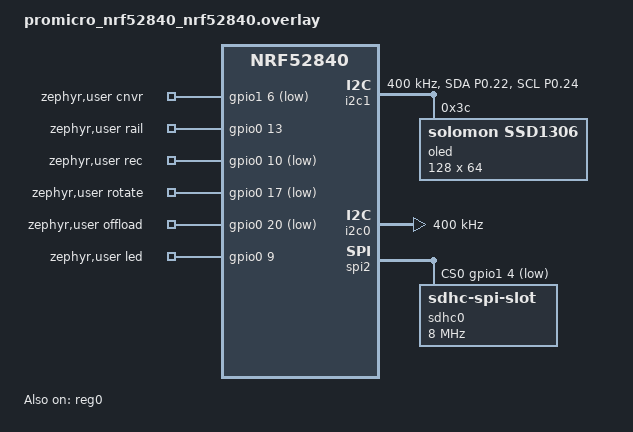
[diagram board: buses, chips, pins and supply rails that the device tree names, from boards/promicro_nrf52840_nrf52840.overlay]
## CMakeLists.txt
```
cmake_minimum_required(VERSION 3.20.0)

# ---- Auto-derived version --------------------------------------------------
# Two version surfaces that need to track every push, not stay pinned:
#
#   1. APP_BUILD_TAG (visible in `pwr status`): `git describe`-derived, e.g.
#      v1.0-13-gde99493 or v1.0-13-gde99493-dirty.
#
#   2. MCUboot image version (visible in `pwrctl ota` image list and on
#      the swap trailer): MAJOR.MINOR.PATCH+TWEAK. MAJOR/MINOR pinned in
#      CMake; PATCHLEVEL = number of commits past the v1.0 tag (mod 256
#      because Zephyr's version parser is byte-limited). Result: every
#      committed-and-pushed image gets a unique version number.
#
# Both fall back to "unknown" / 0 if git isn't usable (clean tarball
# extract etc.); functional, just less informative.
#
# The VERSION file is generated here (NOT tracked in git) so the source
# tree never carries a stale snapshot. Zephyr's find_package reads it
# during boilerplate; computing + writing it must happen BEFORE that.

set(APP_VERSION_MAJOR 1)
set(APP_VERSION_MINOR 1)

execute_process(
    COMMAND git describe --always --dirty --tags
    WORKING_DIRECTORY ${CMAKE_SOURCE_DIR}
    OUTPUT_VARIABLE APP_GIT_TAG
    OUTPUT_STRIP_TRAILING_WHITESPACE
    RESULT_VARIABLE _git_rc
    ERROR_QUIET
)
if(NOT _git_rc EQUAL 0 OR APP_GIT_TAG STREQUAL "")
    set(APP_GIT_TAG "unknown")
endif()

# Commit count past v1.0; goes into PATCHLEVEL. Mod 256 to stay within the
# byte cap (just bump VERSION_MINOR before we run out at commit 256).
execute_process(
    COMMAND git rev-list --count v1.0..HEAD
    WORKING_DIRECTORY ${CMAKE_SOURCE_DIR}
    OUTPUT_VARIABLE APP_COMMIT_COUNT
    OUTPUT_STRIP_TRAILING_WHITESPACE
    RESULT_VARIABLE _count_rc
    ERROR_QUIET
)
if(NOT _count_rc EQUAL 0 OR APP_COMMIT_COUNT STREQUAL "")
    set(APP_COMMIT_COUNT 0)
endif()
math(EXPR APP_VERSION_PATCH "${APP_COMMIT_COUNT} % 256")

file(WRITE ${CMAKE_SOURCE_DIR}/VERSION
    "VERSION_MAJOR = ${APP_VERSION_MAJOR}\n"
    "VERSION_MINOR = ${APP_VERSION_MINOR}\n"
    "PATCHLEVEL = ${APP_VERSION_PATCH}\n"
    "VERSION_TWEAK = 0\n"
    "EXTRAVERSION =\n"
)

message(STATUS "pwr-logger build tag:    ${APP_GIT_TAG}")
message(STATUS "pwr-logger image version: ${APP_VERSION_MAJOR}.${APP_VERSION_MINOR}.${APP_VERSION_PATCH}+0")

find_package(Zephyr REQUIRED HINTS $ENV{ZEPHYR_BASE})
project(pwr_logger C)

add_compile_definitions(APP_BUILD_TAG="${APP_GIT_TAG}")

# Guard: FatFs must be thread-safe. FS_FATFS_REENTRANT depends on
# !FS_FATFS_LFN_MODE_BSS; if a config change reintroduces BSS mode Kconfig drops
# REENTRANT with only a warning and FatFs silently runs with NO locking
# (corrupts the card under concurrent shell/logger/display access).
if(NOT CONFIG_FS_FATFS_REENTRANT)
    message(FATAL_ERROR
        "CONFIG_FS_FATFS_REENTRANT is not enabled (check for a Kconfig warning: "
        "it requires LFN mode STACK or HEAP, not BSS). Refusing to build a "
        "firmware whose SD filesystem access is not thread-safe.")
endif()

target_sources(app PRIVATE
    src/main.c
    src/board_init.c
    src/bringup.c
    src/timebase.c
    src/acquisition.c
    src/ina228.c
    src/aggregate.c
    src/tdms.c
    src/storage.c
    src/logger.c
    src/ble_stream.c
    src/usb_msc.c
    src/usbd_pwr_bulk.c
    src/config.c
    src/clock.c
    src/cli.c
    src/logctl.c
    src/power.c
    src/cal.c
    src/controls.c
    src/stats.c
    src/cfgfile.c
    src/wdt.c
    src/ota.c
)

# Optional SSD1306 OLED (CONFIG_APP_DISPLAY) — compiled only when enabled.
target_sources_ifdef(CONFIG_APP_DISPLAY app PRIVATE src/display.c src/ui.c src/icons_font.c)

target_include_directories(app PRIVATE src)
```

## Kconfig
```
# pwr-logger application Kconfig (root). Must source Kconfig.zephyr.

menu "pwr-logger"

config APP_BRINGUP
	bool "Bring-up probe mode (LED heartbeat + I2C/SD/SAADC self-test)"
	default y
	help
	  Phase 0/1 hardware bring-up: instead of the logging pipeline, run a
	  heartbeat LED and periodically probe the INA228 (I2C), SD card, and
	  SAADC (AIN7), logging results to the console. Use this to verify wiring
	  one component at a time. Set to 'n' for the real logging firmware.

config APP_DISPLAY
	bool "SSD1306 OLED status display (I2C on TWIM1)"
	default n
	select DISPLAY
	select SSD1306
	select CHARACTER_FRAMEBUFFER
	help
	  128x64 SSD1306 OLED on a dedicated I2C bus (TWIM1 / i2c1, address 0x3C),
	  showing live current/voltage/state/battery. Off by default so the
	  firmware builds/runs without the panel fitted; set 'y' once it's wired.

endmenu

source "Kconfig.zephyr"
```

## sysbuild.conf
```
# Multi-image build: add MCUboot as the bootloader (replaces the stock UF2).
# Partitions come from the board devicetree (nrf52840_partition.dtsi) — no
# NCS Partition Manager / pm_static needed.
# Build with:  west build -b promicro_nrf52840/nrf52840 --sysbuild
SB_CONFIG_BOOTLOADER_MCUBOOT=y
```

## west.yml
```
# West manifest — workspace ("T2 star") application on UPSTREAM ZEPHYR.
# Fully open source: no Nordic SoftDevice Controller blob. Zephyr's own
# software BLE controller is used instead (see prj.conf: BT_LL_SW_SPLIT).
#
# Run once:  west init -l .   &&   west update
# `import: true` pulls Zephyr + its modules (hal_nordic/nrfx, MCUboot, FatFs, ...).
manifest:
  remotes:
    - name: zephyrproject
      url-base: https://github.com/zephyrproject-rtos
  projects:
    - name: zephyr
      remote: zephyrproject
      revision: main          # pin to a release tag (e.g. v4.1.0) for reproducibility
      import: true
  self:
    path: pwr-logger
```

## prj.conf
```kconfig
# pwr-logger application Kconfig.
# NOTE: this is a starting point. Several storage/DFU symbol names are
# Zephyr-version-sensitive — expect to adjust on the first `west build`.
# See REQUIREMENTS.md / IMPLEMENTATION.md for the rationale behind each group.

# ---- Core ----------------------------------------------------------------
# Logging + RTT disabled: ~17-22 KB BSS reclaim for download buffers.
# Trade: no boot diagnostics, no LOG_INF/WRN/ERR, fault dumps invisible
# without re-flashing a debug build (separate prj-debug.conf can re-enable).
# LOG_MODULE_REGISTER calls in driver/app code compile to no-ops under
# CONFIG_LOG=n; runtime is unaffected.
CONFIG_LOG=n
CONFIG_FPU=y
CONFIG_GPIO=y
CONFIG_GPIO_HOGS=y     # drive P0.13 high at boot to keep the board's 3.3V rail on
CONFIG_MAIN_STACK_SIZE=4096
CONFIG_HEAP_MEM_POOL_SIZE=16384
CONFIG_REBOOT=y
CONFIG_POWEROFF=y      # sys_poweroff() for SHIP / System OFF
# Hardware watchdog: nRF WDT, 4s timeout, fed by sysworkq every 1s.
# Catches kernel-level deadlocks (sysworkq stops -> SoC reset) without
# false positives in normal operation. See src/wdt.c for the full design.
CONFIG_WATCHDOG=y
# Device-level power management: lets us call pm_device_action_run() on
# the bus drivers so their suspend hooks apply pinctrl-sleep
# (low-power-enable disconnects the pads). Without this, when the 3.3V
# rail to INA228/display/SD goes off in LS_IDLE, the MCU keeps driving
# SDA/SCL/SCK/MOSI/CS into now-unpowered slaves and current leaks
# through their ESD diodes to ground -- mA-level standby draw.
CONFIG_PM_DEVICE=y
# Enable board_early_init_hook() in src/board_init.c -- writes UICR.REGOUT0 =
# 3.3 V on first boot in HV mode. Without this Kconfig, hooks.h expands the
# call site to do-while-0 and the hook is dead code, leaving VDD = 1.8 V.
CONFIG_BOARD_EARLY_INIT_HOOK=y

# ---- Acquisition: nrfx SAADC + TIMER + PPI (gapless 200 kSPS hot path) ----
# Driver classes; the specific TIMER/SAADC instances are enabled via devicetree
# (e.g. &timer2, &adc status = "okay") when acquisition.c is implemented.
CONFIG_NRFX_SAADC=y
CONFIG_NRFX_TIMER=y
CONFIG_NRFX_GPPI=y
CONFIG_NRFX_GPIOTE=y

# ---- Precision channel: INA228 over I2C (Fast-mode-plus) ------------------
CONFIG_I2C=y

# ---- Storage: SD over SPI + FatFs/exFAT ----------------------------------
CONFIG_SPI=y
CONFIG_DISK_ACCESS=y
CONFIG_SDHC=y
CONFIG_SDMMC_STACK=y
CONFIG_DISK_DRIVER_SDMMC=y
CONFIG_FILE_SYSTEM=y
CONFIG_FAT_FILESYSTEM_ELM=y
CONFIG_FS_FATFS_EXFAT=y
CONFIG_FS_FATFS_LFN=y
# FatFs has zero internal locking by default; with the FILE-page render
# now calling fs_statvfs / fs_stat from the display thread (priority 8)
# while the logger writer (priority 5) does fs_write, an unsynchronized
# access wedges the global FF state and freezes the device. Reentrant
# mode wraps every FS call in a Zephyr mutex (~120 B BSS).
#
# !! FS_FATFS_REENTRANT `depends on !FS_FATFS_LFN_MODE_BSS`, and BSS is the
# !! default LFN mode (static buffer, "always NOT thread-safe"). With BSS the
# !! REENTRANT=y line below was SILENTLY DROPPED (only a Kconfig warning), so
# !! FatFs ran with no locking at all: shell / logger / display / download
# !! worker raced one shared sector window + one shared name buffer. Symptoms:
# !! random short `pwr ls`, torn/duplicated exFAT dir entries, files whose
# !! size was saved but clusters not linked. HEAP mode keeps the LFN buffer off
# !! the small thread stacks (display thread is 1.5 KB) and uses the existing
# !! HEAP_MEM_POOL_SIZE. CMakeLists.txt fails the build if REENTRANT is off.
CONFIG_FS_FATFS_LFN_MODE_HEAP=y
CONFIG_FS_FATFS_REENTRANT=y

# ---- BLE: aggregated live stream + DFU transport -------------------------
CONFIG_BT=y
CONFIG_BT_LL_SW_SPLIT=y     # Zephyr's open-source link-layer controller (no blob)
CONFIG_BT_PERIPHERAL=y
CONFIG_BT_DEVICE_NAME="pwr-logger"
CONFIG_BT_CTLR_PHY_2M=y
CONFIG_BT_L2CAP_TX_MTU=247
CONFIG_BT_BUF_ACL_TX_SIZE=251
CONFIG_BT_BUF_ACL_RX_SIZE=251
# BT supervision timeout: default pref of 420 ms (=42*10ms) is too short
# for synchronous flash operations that block BLE servicing -- the
# one-shot mcumgr `image erase` takes ~5 s on a populated 234 KB slot
# (nRF52840 page erase ~85 ms x 58 pages), exceeding the supervision
# timeout and dropping the connection. 10 s (=1000*10ms) accommodates
# the worst-case erase comfortably.
CONFIG_BT_PERIPHERAL_PREF_TIMEOUT=1000
# ATT MTU: Zephyr derives it from CONFIG_BT_BUF_ACL_TX_SIZE (251 -> 247
# usable). Hitting the 20-byte payload cap (rec_slow drops) is a
# central-side issue: the central must initiate the MTU exchange.
# Tracked as the rec_slow item in TODO.md; deferred from this commit.

# ---- USB: composite CDC console + MSC offload (device_next) ----------------
# Own a single composite USB device (CDC console + MSC) in usb_msc.c: disable
# the board's standalone CDC-ACM-console context so MSC can share the device.
# MSC exposes the SD card (disk-name "SD") to a host; mutually exclusive with
# FatFs logging (host owns the block device during offload).
CONFIG_CDC_ACM_SERIAL_INITIALIZE_AT_BOOT=n
CONFIG_USBD_CDC_ACM_CLASS=y
CONFIG_USBD_MSC_CLASS=y
CONFIG_HWINFO=y
# Push CDC TX throughput closer to the FS bulk-EP limit. Default pool is
# 16 x 64 B = 1 KB shared with MSC/desc; that caps us at ~1 packet per
# host SOF -> ~85 KB/s. A dedicated pool with more buffers lets the UDC
# pre-stage multiple packets so the host can drain them per-frame.
CONFIG_USBD_CDC_ACM_BUF_POOL=y
CONFIG_UDC_BUF_COUNT=32
# Shared by CDC ACM + MSC + pwr-bulk. The pwr-bulk class can have up to
# PWR_BULK_BUF_COUNT (8) * 1024 B = 8 KB of transfers outstanding when
# the producer races ahead of the host; 16 KB leaves the pool large
# enough to absorb that without back-pressuring CDC/MSC alloc paths.
# pwr-bulk's producer also retries on alloc-fail so a too-small pool is
# a perf hit, not a correctness bug.
CONFIG_UDC_BUF_POOL_SIZE=32768

# ---- Persistent config: Zephyr settings over NVS (the 'storage' partition) -
CONFIG_SETTINGS=y
CONFIG_SETTINGS_NVS=y
CONFIG_NVS=y

# ---- Console shell over the CDC-ACM USB console (chosen zephyr,shell-uart) --
# Input command surface for config/time/logctl. Logs stay on the RTT backend so
# the interactive shell isn't cluttered (SHELL_LOG_BACKEND=n).
CONFIG_SHELL=y
CONFIG_SHELL_BACKEND_SERIAL=y
CONFIG_SHELL_LOG_BACKEND=n
# Default 2 KB shell stack overflows when 'pwr download' opens a FatFs file
# and streams bytes via uart_poll_out -- FatFs read + console_dev struct
# accesses through that path use enough stack to tip over. 4 KB clears it
# with headroom; observed peak ~1.6 KB during a multi-MB download.
CONFIG_SHELL_STACK_SIZE=4096

# ---- Dev: thread analyzer disabled (CONFIG_LOG=n, no sink for its output) --
# CONFIG_THREAD_NAME=y / THREAD_MONITOR=y / THREAD_ANALYZER* removed alongside
# the log subsystem. EXCEPTION_DEBUG also relied on log/printk for output;
# faults now just reset the board via the default fatal handler. Re-enable
# this whole block in a debug build if you need crash visibility or thread
# stack high-water analysis.

# ---- Optional OLED status display ------------------------------------------
CONFIG_APP_DISPLAY=y

# ---- OTA: MCUboot image infra (bootloader enabled in sysbuild.conf) --------
# Slot / image-management plumbing used by both update paths:
#   * BLE mcumgr-SMP (host: mcumgr / nrfutil device firmware-program)
#   * SD-card auto-apply (drop /SD:/firmware.bin, reboot or `pwr ota apply`)
# Both stream to the secondary slot and mark for swap; MCUboot does the
# atomic swap on the next reset.
CONFIG_FLASH=y
CONFIG_FLASH_MAP=y
CONFIG_FLASH_PAGE_LAYOUT=y
CONFIG_STREAM_FLASH=y
CONFIG_IMG_MANAGER=y
CONFIG_IMG_ERASE_PROGRESSIVELY=y     # erase pages on demand during stream
CONFIG_MCUBOOT_IMG_MANAGER=y          # boot_request_upgrade / confirmed
# mcumgr SMP server: app-layer over BLE GATT. img_mgmt = image upload + swap;
# os_mgmt = reset/echo. NB: MCUMGR `depends on ZCBOR` (does not select),
# so CONFIG_ZCBOR has to be explicit.
CONFIG_ZCBOR=y
CONFIG_MCUMGR=y
CONFIG_MCUMGR_TRANSPORT_BT=y
CONFIG_MCUMGR_GRP_IMG=y
CONFIG_MCUMGR_GRP_OS=y
CONFIG_MCUMGR_GRP_OS_BOOTLOADER_INFO=y
# Reset-on-mcumgr-OS reset
CONFIG_MCUMGR_GRP_OS_RESET_HOOK=y
# DFU status hooks: lets src/ota.c register a callback that drives the
# OLED progress indicator + sets the in-progress flag that inhibits
# auto-sleep during a BLE OTA upload (see ota_dfu_cb). Requires the
# parent MGMT_NOTIFICATION_HOOKS=y.
CONFIG_MCUMGR_MGMT_NOTIFICATION_HOOKS=y
CONFIG_MCUMGR_GRP_IMG_STATUS_HOOKS=y
```

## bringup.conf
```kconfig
# Standalone bring-up build profile (NO MCUboot): links the app at 0x0 so it
# boots directly over SWD, for Phase 0/1 hardware bring-up.
#
# Use WITHOUT --sysbuild:
#   west build -b promicro_nrf52840/nrf52840 -- -DEXTRA_CONF_FILE=bringup.conf
#
# The board otherwise targets an MCUboot scheme (zephyr,code-partition=slot0 and
# a 0x1000 MBR offset); these two overrides bypass that for direct boot.
CONFIG_USE_DT_CODE_PARTITION=n
CONFIG_FLASH_LOAD_OFFSET=0
```

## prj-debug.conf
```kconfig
# Debug overlay: re-enables what the production build (prj.conf) strips.
#
# Use:
#   west build -s ~/work/pwr-logger -b promicro_nrf52840/nrf52840 \
#       -d /tmp/pwrlog-debug --sysbuild \
#       -- -DCONFIG_APP_BRINGUP=n -DEXTRA_CONF_FILE=prj-debug.conf
#
# Cost vs production build (measured 2026-05-28):
#   RAM:    85.80% -> 95.57%   (+25 KB: log queue, RTT up-buf, log
#                               thread, analyzer state)
#   FLASH:  52.74% -> 61.58%   (+42 KB: log format strings, RTT, helpers)
# Download throughput unaffected at this RAM level; the SD double-buffer
# at 16 KB/chunk still fits with ~5% headroom.

CONFIG_LOG=y
CONFIG_USE_SEGGER_RTT=y
CONFIG_LOG_BACKEND_RTT=y
CONFIG_LOG_BACKEND_RTT_BUFFER_SIZE=4096
CONFIG_SEGGER_RTT_BUFFER_SIZE_UP=4096
CONFIG_LOG_BUFFER_SIZE=16384
CONFIG_LOG_PROCESS_THREAD_STACK_SIZE=2048

# Thread stack high-water + auto-print every 20 s.
CONFIG_THREAD_NAME=y
CONFIG_THREAD_MONITOR=y
CONFIG_THREAD_ANALYZER=y
CONFIG_THREAD_ANALYZER_USE_LOG=y
CONFIG_THREAD_ANALYZER_AUTO=y
CONFIG_THREAD_ANALYZER_AUTO_INTERVAL=20

# Per-thread fault dump (PC/LR/SP + register file) before the offender
# aborts. Without this, a single-thread fault leaves no trace beyond
# the thread disappearing from the iterator.
CONFIG_EXCEPTION_DEBUG=y
```

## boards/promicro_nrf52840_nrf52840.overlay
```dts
/*
 * pwr-logger peripherals on the ProMicro nRF52840 (upstream board
 * `promicro_nrf52840/nrf52840`). Pins verified against the board DTS.
 *
 * Series load path (high-side), INA228 nearest the load so its VBUS = load V:
 *   Supply+ --[INA240 1mOhm]--[INA228 2mOhm]-- Load+ ... Load- -- GND
 *   (all grounds common: supply-, both breakouts, MCU, load return)
 */

#include <zephyr/dt-bindings/pinctrl/nrf-pinctrl.h>
#include <zephyr/dt-bindings/gpio/nordic-nrf-gpio.h>
#include <zephyr/dt-bindings/regulator/nrf5x.h>

/ {
	zephyr,user {
		/* INA228 CNVR/ALERT (open-drain, active-low) -> GPIOTE -> PPI ->
		 * TIMER.CAPTURE: hardware-timestamps each slow conversion. */
		cnvr-gpios = <&gpio1 6 (GPIO_ACTIVE_LOW | GPIO_PULL_UP)>;

		/* P0.13 enables the board's external 3.3V rail (nice!nano-style power
		 * gate) -- pulling it low cuts 3.3V to the INA228/INA240/SD. Driven
		 * HIGH early by power_init(); cut in dark idle / ship to save power.
		 * (Was a permanent gpio-hog; now app-controlled.) */
		rail-gpios = <&gpio0 13 GPIO_ACTIVE_HIGH>;

		/* Front-panel controls (active-low, internal pull-up).
		 * REC: momentary -- short = start/stop toggle, long(2s) = poweroff.
		 * ROTATE: momentary -- cut a fresh TDMS file while logging.
		 * OFFLOAD: SPST maintained -- level read at boot + on every edge;
		 *   closed = MSC offload mode, open = normal logging.
		 * P0.09 and P0.10 are the freed NFC pads (nfct-pins-as-gpios in the
		 * board common.dts); P0.10 was uart0 RX by default but we don't use
		 * uart0 (shell on CDC, logs on RTT) so we disable it below to free
		 * the pin. P0.09 was uart0 TX (same treatment). */
		rec-gpios     = <&gpio0 10 (GPIO_ACTIVE_LOW | GPIO_PULL_UP)>;
		rotate-gpios  = <&gpio0 17 (GPIO_ACTIVE_LOW | GPIO_PULL_UP)>;
		offload-gpios = <&gpio0 20 (GPIO_ACTIVE_LOW | GPIO_PULL_UP)>;

		/* Status LED on P0.09 (active-high; ~270-330 ohm series resistor
		 * to GND). Drawn from MCU GPIO -- survives the gated 3V3 rail
		 * being cut, so the LED can keep indicating during dark IDLE if
		 * we ever want that (currently: off in IDLE). */
		led-gpios = <&gpio0 9 GPIO_ACTIVE_HIGH>;
	};
};

/* Free P0.09 / P0.10 from uart0's default pinctrl. We don't use uart0 at all
 * (shell binds to the USB CDC console, logs go to RTT) -- this lets controls.c
 * own the pads via plain GPIO. */
&uart0 { status = "disabled"; };

/* PWM0 is wired to P0.15 (the board's onboard "Red LED") in the upstream
 * common DTS. We don't use either the board LED or PWM, and leaving the
 * peripheral enabled means its pinctrl gets applied at boot, which can
 * leave a stale pull on P0.15. Disable. */
&pwm0 { status = "disabled"; };

/* The board enables the IEEE 802.15.4 radio. We use BLE (which shares the
 * RADIO peripheral) -- the 802.15.4 driver doesn't conflict at runtime
 * but it links code we don't use and registers an init hook. Off. */
&ieee802154 { status = "disabled"; };

/* The board's onboard "Red LED" gpio-leds entry claims P0.15 as a GPIO
 * output at boot. We don't use it; disable so the pin stays free of any
 * default-config residue. */
&led0 { status = "disabled"; };

/* I2C1 default pins (P1.04 / P1.06) are repurposed as SD-CS and CNVR; re-map the
 * TWIM1 bus to two freed pins for a DEDICATED display I2C, so the SSD1306 never
 * contends with the INA228 on TWIM0. (nRF52840 TWIM max is 400 kHz, no FM+, which
 * is exactly why the display gets its own bus.) Bus + node are inert until
 * CONFIG_APP_DISPLAY selects the SSD1306 driver. */
&pinctrl {
	i2c1_disp: i2c1_disp {
		group1 {
			psels = <NRF_PSEL(TWIM_SDA, 0, 22)>,
				<NRF_PSEL(TWIM_SCL, 0, 24)>;
		};
	};
	i2c1_disp_sleep: i2c1_disp_sleep {
		group1 {
			psels = <NRF_PSEL(TWIM_SDA, 0, 22)>,
				<NRF_PSEL(TWIM_SCL, 0, 24)>;
			low-power-enable;
		};
	};
};

&i2c1 {
	compatible = "nordic,nrf-twim";
	status = "okay";
	clock-frequency = <I2C_BITRATE_FAST>;
	pinctrl-0 = <&i2c1_disp>;
	pinctrl-1 = <&i2c1_disp_sleep>;
	pinctrl-names = "default", "sleep";
	/* SSD1306 driver pushes a 1024-byte framebuffer prepended by a 1-byte
	 * I2C "control byte" (0x40 = data). EasyDMA needs a contiguous buffer:
	 * the TWIM driver concatenates the two via this scratch buffer. If it's
	 * unset / 0 the burst splits into two I2C transactions, the second
	 * starts with what was the first pixel byte but the chip interprets it
	 * as a NEW control byte (0x00 = command) -> the rest of the framebuffer
	 * is executed as commands -> screen shows random garbage. 1088 bytes
	 * covers the full 128x64 mono frame + control byte with headroom. */
	zephyr,concat-buf-size = <1088>;

	oled: ssd1306@3c {
		compatible = "solomon,ssd1306";
		reg = <0x3c>;
		width = <128>;
		height = <64>;
		segment-offset = <0>;
		page-offset = <0>;
		display-offset = <0>;
		multiplex-ratio = <63>;
		segment-remap;
		com-invdir;
		prechargep = <0x22>;
	};
};

/ {
	chosen {
		zephyr,display = &oled;
	};
};

/* INA228 precision channel — I2C Fast-mode-plus, address 0x40 (A0/A1 = GND).
 * Driven manually in ina228.c via the i2c0 bus device (no DT binding needed).
 * Add ~2.2k SDA/SCL pull-ups to 3V3 unless the breakout already has them. */
&i2c0 {
	compatible = "nordic,nrf-twim";	/* TWIM (EasyDMA) */
	status = "okay";
	clock-frequency = <I2C_BITRATE_FAST>;	/* 400 kHz — nRF52840 I2C max */
};

/* Level shifter/buffer removed -> the MCU drives the SD lines directly.
 * group1 = outputs (SCK/MOSI) at H0H1 high drive (max for nRF52840); the
 * default S0S1 gives weak edges into the card's pin load. group2 = MISO, the
 * card->MCU input, with the nRF internal pull-up (~13k) enabled so the line
 * isn't left floating between the card's drive phases. (No pull-up on SCK: it
 * would fight the CPOL=0 idle-low.) */
&spi2_default {
	group1 {
		psels = <NRF_PSEL(SPIM_SCK, 1, 1)>,
			<NRF_PSEL(SPIM_MOSI, 1, 2)>;
		nordic,drive-mode = <NRF_DRIVE_H0H1>;
	};
	group2 {
		psels = <NRF_PSEL(SPIM_MISO, 1, 7)>;
		bias-pull-up;
	};
};

/* SD card on SPIM2 (board default pins: SCK P1.01, MOSI P1.02, MISO P1.07).
 * ~8 MHz ~= 1 MB/s, 2.5x the 400 kB/s need. CS = P1.04 (freed from I2C1).
 * For more headroom (multichannel) later, move SD to SPIM3 @ 32 MHz. */
&spi2 {
	/* The board defaults spi2 to the legacy byte-IRQ "nordic,nrf-spi" driver,
	 * which fires one interrupt per byte -> at ~390 kB/s of TDMS writes the SPI
	 * ISR starves every other thread. Use SPIM (EasyDMA): one DMA transfer per
	 * buffer. SPIM2 is free (I2C uses TWIM0); 8 MHz max, 64 kB max-count. */
	compatible = "nordic,nrf-spim";
	status = "okay";
	cs-gpios = <&gpio1 4 (GPIO_ACTIVE_LOW | NRF_GPIO_DRIVE_H0H1 | GPIO_PULL_UP)>;

	sdhc0: sdhc@0 {
		compatible = "zephyr,sdhc-spi-slot";
		reg = <0>;
		status = "okay";
		spi-max-frequency = <8000000>;
		mmc {
			compatible = "zephyr,sdmmc-disk";
			disk-name = "SD";
			status = "okay";
		};
	};
};

/* DC/DC regulators (efficiency; inductors populated). HV mode: REG0 steps
 * VDDH->VDD, REG1 steps VDD->1.3 V core. Default is LDO (functional but lossy);
 * DC/DC roughly halves current, biggest win on REG0 dropping 3.7-5 V. */
&reg1 {
	regulator-initial-mode = <NRF5X_REG_MODE_DCDC>;
};

&reg0 {
	status = "okay";
};

/*
 * SAADC fast channel: INA240 OUT -> RC anti-alias (62 ohm + 33 nF, ~78 kHz) ->
 * P0.31 = AIN7. Configured in acquisition.c via nrfx (no DT node needed; do NOT
 * also enable the Zephyr `adc` driver, or both would claim the SAADC).
 */
```

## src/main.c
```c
#include <zephyr/kernel.h>
#include <zephyr/logging/log.h>

#include "timebase.h"

#ifdef CONFIG_APP_BRINGUP
#include "bringup.h"
#else
#include "acquisition.h"
#include "ina228.h"
#include "ble_stream.h"
#include "usb_msc.h"
#include "logger.h"
#include "logctl.h"
#include "config.h"
#include "clock.h"
#include "power.h"
#include "display.h"
#include "controls.h"
#include "stats.h"
#include "ui.h"
#include "storage.h"
#include "cfgfile.h"
#include "wdt.h"
#include "ota.h"
#endif

LOG_MODULE_REGISTER(main, LOG_LEVEL_INF);

int main(void)
{
	LOG_INF("pwr-logger starting");
	timebase_init();

#ifdef CONFIG_APP_BRINGUP
	/* Phase 0/1: hardware bring-up self-test (does not return). */
	bringup_run();
#else
	/* Persistent config + wall clock first: clk_init() sets defaults before
	 * config_load() runs settings_load() (which fills both via static
	 * handlers); clk_start() then restores the time estimate. */
	clk_init();
	config_load();
	clk_start();

	/* Bring the 3.3 V rail up before anything that needs it (INA228/INA240/SD). */
	power_init();

	acq_init();
	ina228_init();
	ble_stream_init();
	ota_dfu_hooks_init();   /* mcumgr DFU events -> display + in_progress flag */
	usb_storage_init();
	display_init();   /* no-op unless CONFIG_APP_DISPLAY */
	ui_init();        /* multi-page UI state (no-op without DISPLAY) */
	stats_init();     /* hooks aggregate.c + ina228.c callbacks; lock-light */
	logger_init();

	/* Optional SD-backed config overlay. Read /SD:/pwr.cfg early -- the keys
	 * we apply (ui.*, stats.*, display.*) should take effect on the first
	 * render / logger_start. logger_start will re-mount as needed; we leave
	 * the FS unmounted here. */
	if (config_get()->cfgfile_load_on_boot) {
		if (storage_mount() == 0) {
			(void)cfgfile_apply_from_sd();
			(void)storage_unmount();
		} else {
			LOG_WRN("cfgfile_load_on_boot: SD mount failed -- skipping");
		}
	}

	/* logctl owns the mode (logging / offload / ship), driven by the console,
	 * BLE, buttons/switch and USB/battery events. It seeds the initial mode
	 * from config (autostart) here. */
	logctl_init();

	/* Front-panel inputs + LED (must come AFTER logctl_init -- controls
	 * posts the boot-time OFFLOAD switch level into logctl's msgq). */
	controls_init();

	/* Hardware watchdog last: by here every subsystem that uses sysworkq
	 * (logger flush, display refresh, BLE timers) is up, so the periodic
	 * feed work joins an already-flowing queue and won't starve at
	 * startup. Failure here is non-fatal; the device just runs without
	 * the watchdog safety net. */
	(void)wdt_init();

	/* If we just swapped in via OTA (TEST swap), confirm the image so
	 * MCUboot stops reverting on subsequent resets. "We got this far"
	 * means init succeeded across acquisition, INA228, BLE, USB,
	 * display, controls, logctl -- a reasonable health check. No-op
	 * if the image was already confirmed. */
	ota_confirm_current();

	while (1) {
		k_sleep(K_SECONDS(1));
	}
#endif
	return 0;
}
```

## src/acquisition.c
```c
#include "acquisition.h"
#include "app_config.h"
#include "timebase.h"

#include <zephyr/kernel.h>
#include <zephyr/irq.h>
#include <zephyr/logging/log.h>

#include <nrfx.h>
#include <nrfx_saadc.h>

LOG_MODULE_REGISTER(acquisition, LOG_LEVEL_INF);

K_MSGQ_DEFINE(acq_msgq, sizeof(struct acq_block), ACQ_BUF_COUNT, 4);
K_MEM_SLAB_DEFINE(acq_slab, sizeof(int16_t) * ACQ_BUF_SAMPLES, ACQ_BUF_COUNT, 4);

/* Handed to the SAADC when the pool is exhausted; contents are discarded so
 * sampling never stalls (drop-on-overrun). */
static int16_t s_overflow[ACQ_BUF_SAMPLES];
static uint32_t s_seq;
static atomic_t s_drops;

/* SAADC internal sample timer: rate = 16 MHz / CC. 80 -> 200 kSPS. */
#define SAADC_TIMER_CC (16000000u / ACQ_SAMPLE_RATE_HZ)

static int16_t *pool_alloc(void)
{
	void *p;

	return (k_mem_slab_alloc(&acq_slab, &p, K_NO_WAIT) == 0) ? (int16_t *)p : NULL;
}

void acq_block_release(struct acq_block *blk)
{
	if (blk && blk->samples) {
		k_mem_slab_free(&acq_slab, (void *)blk->samples);
		blk->samples = NULL;
	}
}

uint32_t acq_drops(void)
{
	return (uint32_t)atomic_get(&s_drops);
}

void acq_drops_reset(void)
{
	atomic_clear(&s_drops);
}

/* nrfx SAADC event handler (ISR context). Keep it minimal: hand off buffers,
 * never block. */
static void saadc_evt(nrfx_saadc_evt_t const *evt)
{
	switch (evt->type) {
	case NRFX_SAADC_EVT_BUF_REQ: {
		int16_t *next = pool_alloc();

		if (next == NULL) {
			next = s_overflow; /* pool exhausted -> discard */
		}
		(void)nrfx_saadc_buffer_set(next, ACQ_BUF_SAMPLES);
		break;
	}
	case NRFX_SAADC_EVT_DONE: {
		int16_t *buf = evt->data.done.p_buffer;

		if (buf == s_overflow) {
			atomic_inc(&s_drops);
			break;
		}

		struct acq_block blk = {
			.samples = buf,
			.count = evt->data.done.size,
			.t_capture = timebase_now32(),
			.seq = s_seq++,
		};

		if (k_msgq_put(&acq_msgq, &blk, K_NO_WAIT) != 0) {
			k_mem_slab_free(&acq_slab, buf); /* consumer behind -> drop */
			atomic_inc(&s_drops);
		}
		break;
	}
	default:
		break;
	}
}

/* Channel + IRQ setup is one-time per boot (IRQ_CONNECT is build-time
 * registration of the static vector). The peripheral itself can be
 * init/uninit-cycled around acq_start/acq_stop pairs to release the
 * ~200 µA SAADC bias current when not sampling. */
static int saadc_chan_setup(void)
{
	nrfx_saadc_channel_t ch =
		NRFX_SAADC_DEFAULT_CHANNEL_SE(NRFX_ANALOG_EXTERNAL_AIN7, 0);
	int err;

	ch.channel_config.gain = NRF_SAADC_GAIN1_6;
	ch.channel_config.reference = NRF_SAADC_REFERENCE_INTERNAL;
	ch.channel_config.acq_time = NRF_SAADC_ACQTIME_3US; /* required at 200 kSPS */

	err = nrfx_saadc_init(NRFX_SAADC_DEFAULT_CONFIG_IRQ_PRIORITY);
	if (err != 0 && err != -EALREADY) {
		return err;
	}
	err = nrfx_saadc_channel_config(&ch);
	if (err != 0) {
		return err;
	}
	(void)nrfx_saadc_offset_calibrate(NULL);
	return 0;
}

int acq_init(void)
{
	IRQ_CONNECT(DT_IRQN(DT_NODELABEL(adc)), DT_IRQ(DT_NODELABEL(adc), priority),
		    nrfx_isr, nrfx_saadc_irq_handler, 0);

	int err = saadc_chan_setup();

	if (err != 0) {
		LOG_ERR("saadc init -> %d", err);
		return -1;
	}
	/* Free the peripheral immediately; acq_start re-inits when needed.
	 * Without this, SAADC sits enabled at ~200 µA from boot until
	 * the first acq_start (or forever if logging never starts). */
	nrfx_saadc_uninit();

	LOG_INF("acq_init: AIN7, 14-bit, %ux oversample -> %u kSPS (peripheral suspended)",
		ACQ_OVERSAMPLE, ACQ_SAMPLE_RATE_HZ / 1000u);
	return 0;
}

int acq_start(void)
{
	nrfx_saadc_adv_config_t adv = NRFX_SAADC_DEFAULT_ADV_CONFIG;
	int16_t *b0, *b1;
	int err;

	/* TIMER2 backs every sample's timestamp; HFCLK pinned ON while it
	 * runs (~500-700 µA). Tie its lifecycle to acquisition so the
	 * IDLE / STOPPED-on-battery paths actually save current. */
	timebase_start();

	/* Re-init SAADC (acq_init's saadc_chan_setup was followed by an
	 * uninit to free the ~200 µA bias current). Idempotent. */
	err = saadc_chan_setup();
	if (err != 0) {
		LOG_ERR("saadc re-init -> %d", err);
		timebase_stop();
		return -1;
	}

	adv.internal_timer_cc = SAADC_TIMER_CC;
	adv.start_on_end = true; /* continuous: re-START on each END */
	adv.oversampling = NRF_SAADC_OVERSAMPLE_8X;  /* HW average 8 conv/output sample */
	adv.burst = NRF_SAADC_BURST_ENABLED;         /* one SAMPLE trigger -> 8 bursts */

	BUILD_ASSERT(ACQ_OVERSAMPLE == 8, "oversample enum must match ACQ_OVERSAMPLE");

	/* 14-bit so the oversample's sub-LSB resolution gain is retained in RAM. */
	err = nrfx_saadc_advanced_mode_set(BIT(0), NRF_SAADC_RESOLUTION_14BIT, &adv,
					   saadc_evt);
	if (err != 0) {
		LOG_ERR("advanced_mode_set -> %d", err);
		return -1;
	}

	b0 = pool_alloc();
	b1 = pool_alloc();
	if (b0 == NULL || b1 == NULL) {
		LOG_ERR("initial buffer alloc failed");
		return -1;
	}
	(void)nrfx_saadc_buffer_set(b0, ACQ_BUF_SAMPLES);
	(void)nrfx_saadc_buffer_set(b1, ACQ_BUF_SAMPLES);

	err = nrfx_saadc_mode_trigger();
	if (err != 0) {
		LOG_ERR("mode_trigger -> %d", err);
		return -1;
	}

	LOG_INF("acq_start: sampling (internal timer CC=%u)", SAADC_TIMER_CC);
	return 0;
}

int acq_stop(void)
{
	nrfx_saadc_abort();
	nrfx_saadc_uninit();   /* release ~200 µA peripheral bias */
	timebase_stop();       /* release HFCLK demand; ~500-700 µA */
	return 0;
}

int acq_read_vddh_mv(void)
{
	nrfx_saadc_channel_t ch =
		NRFX_SAADC_DEFAULT_CHANNEL_SE(NRFX_ANALOG_INTERNAL_VDDHDIV5, 1);
	int16_t sample = 0;
	int err;

	ch.channel_config.gain = NRF_SAADC_GAIN1_6;            /* FS = 0.6/(1/6) = 3.6 V */
	ch.channel_config.reference = NRF_SAADC_REFERENCE_INTERNAL;
	ch.channel_config.acq_time = NRF_SAADC_ACQTIME_10US;   /* high-Z internal source */

	/* SAADC may be uninited if no acquisition is active (acq_init now
	 * leaves it suspended to save ~200 µA). Init for this one-shot, then
	 * tear back down if we were the one who brought it up. */
	err = nrfx_saadc_init(NRFX_SAADC_DEFAULT_CONFIG_IRQ_PRIORITY);
	bool we_inited = (err == 0);

	if (err != 0 && err != -EALREADY) {
		LOG_WRN("vddh: saadc_init -> %d", err);
		return -1;
	}

	err = nrfx_saadc_channel_config(&ch);
	if (err != 0) {
		LOG_WRN("vddh: channel_config -> %d", err);
		goto cleanup;
	}
	err = nrfx_saadc_simple_mode_set(BIT(1), NRF_SAADC_RESOLUTION_12BIT,
					NRF_SAADC_OVERSAMPLE_DISABLED, NULL);
	if (err != 0) {
		LOG_WRN("vddh: simple_mode_set -> %d", err);
		goto cleanup;
	}
	err = nrfx_saadc_buffer_set(&sample, 1);
	if (err != 0) {
		LOG_WRN("vddh: buffer_set -> %d", err);
		goto cleanup;
	}
	err = nrfx_saadc_mode_trigger();   /* blocking (handler == NULL) */
	if (err != 0) {
		LOG_WRN("vddh: mode_trigger -> %d", err);
		goto cleanup;
	}
	if (sample < 0) {
		sample = 0;
	}
	if (we_inited) {
		nrfx_saadc_uninit();   /* restore suspended state */
	}
	/* 12-bit code -> input mV (FS 3.6 V), then x5 to undo VDDHDIV5. */
	return ((int)sample * 3600 / 4096) * 5;

cleanup:
	if (we_inited) {
		nrfx_saadc_uninit();
	}
	return -1;
}
```

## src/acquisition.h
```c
#ifndef ACQUISITION_H_
#define ACQUISITION_H_

#include <stdint.h>
#include <zephyr/kernel.h>

/*
 * Fast current channel: INA240 -> SAADC @ 200 kSPS, nrfx + PPI + EasyDMA.
 * Filled DMA buffers are handed to the logger via acq_msgq (descriptor copied;
 * the underlying buffer is returned to the pool with acq_block_release()).
 */

struct acq_block {
	int16_t  *samples;    /* points into the buffer pool */
	uint16_t  count;      /* number of valid samples */
	uint32_t  t_capture;  /* raw 32-bit master tick latched at SAADC.END */
	uint32_t  seq;        /* per-channel sequence (gap detection) */
};

extern struct k_msgq acq_msgq;   /* of struct acq_block */

int  acq_init(void);
int  acq_start(void);
int  acq_stop(void);
void acq_block_release(struct acq_block *blk);

/* Count of dropped buffers (pool exhausted / queue full) since the last
 * acq_drops_reset(). logger_start() resets this at session begin so the
 * value displayed on FILE/SYS pages is per-session, not project-lifetime. */
uint32_t acq_drops(void);
void     acq_drops_reset(void);

/* One-shot battery read: SAADC VDDHDIV5 vs the internal 0.6 V ref, x5 -> VDDH mV.
 * ONLY valid while the fast channel is stopped (shares the single SAADC; the fast
 * path uses oversampling, which is single-channel only). Returns mV, <0 on error. */
int acq_read_vddh_mv(void);

#endif /* ACQUISITION_H_ */
```

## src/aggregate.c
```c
#include "aggregate.h"

#include <math.h>
#include <limits.h>

/*
 * Single-producer/single-consumer: agg_push() and agg_take() are both called
 * from the logger writer thread, so no locking is needed. One window is held
 * "ready" at a time (overwritten if not taken before the next completes).
 */

#define AGG_WINDOW_SAMPLES 1000u   /* 50 ms windows at 20 kSPS -> ~20 Hz BLE live view */

static int64_t  s_sum;
static double   s_sumsq;
static int16_t  s_min;
static int16_t  s_max;
static uint32_t s_n;
static uint64_t s_t_window_start;  /* master tick of the first sample in the window */

static struct agg_window s_ready;
static bool s_have;
static agg_window_cb_t s_cb;

void agg_reset(void)
{
	s_sum = 0;
	s_sumsq = 0.0;
	s_min = INT16_MAX;
	s_max = INT16_MIN;
	s_n = 0;
	s_t_window_start = 0;
	s_have = false;
}

void agg_push(const int16_t *samples, uint16_t n, uint64_t t_first_tick)
{
	for (uint16_t i = 0; i < n; i++) {
		int16_t v = samples[i];

		/* Stamp the window's t_start on the very first sample of the window.
		 * For samples after index 0 inside this block, we approximate with
		 * the block's first-sample tick -- the per-sample delta is below the
		 * resolution we care about for cosmetic window stamping. */
		if (s_n == 0) {
			s_t_window_start = t_first_tick;
		}

		s_sum += v;
		s_sumsq += (double)v * (double)v;
		if (v < s_min) {
			s_min = v;
		}
		if (v > s_max) {
			s_max = v;
		}

		if (++s_n >= AGG_WINDOW_SAMPLES) {
			s_ready.n = s_n;
			s_ready.avg = (float)((double)s_sum / s_n);
			s_ready.rms = (float)sqrt(s_sumsq / s_n);
			s_ready.min = s_min;
			s_ready.max = s_max;
			s_ready.t_start = s_t_window_start;
			s_have = true;
			if (s_cb) {
				s_cb(&s_ready);   /* runs in producer thread; keep short */
			}

			s_sum = 0;
			s_sumsq = 0.0;
			s_min = INT16_MAX;
			s_max = INT16_MIN;
			s_n = 0;
		}
	}
}

bool agg_take(struct agg_window *out)
{
	if (!s_have) {
		return false;
	}
	*out = s_ready;
	s_have = false;
	return true;
}

void agg_set_window_cb(agg_window_cb_t cb)
{
	s_cb = cb;
}
```

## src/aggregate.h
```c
#ifndef AGGREGATE_H_
#define AGGREGATE_H_

#include <stdint.h>
#include <stdbool.h>

/*
 * Decimation / windowed statistics for the BLE live view. Fed from the fast
 * stream; produces compact summary windows. This is NOT the on-card format.
 */

struct agg_window {
	uint64_t t_start;   /* master tick of window start */
	float    rms;
	float    avg;
	int16_t  min;
	int16_t  max;
	uint32_t n;         /* samples in window */
};

void agg_reset(void);
/* Push `n` samples that arrived in the block whose first-sample tick is
 * `t_first_tick`. If the just-completed window had its first sample inside
 * this block, the aggregator stamps `t_start` for that window from
 * t_first_tick. (Pass 0 if you don't care -- t_start is still cosmetic.) */
void agg_push(const int16_t *samples, uint16_t n, uint64_t t_first_tick);
bool agg_take(struct agg_window *out);  /* true if a window is ready */

/* Optional observer fired the moment a new window is finalized (single
 * subscriber, runs in the producer thread -- keep the callback short).
 * Pass NULL to detach. Used by stats.c for the rolling/HOLD engine. */
typedef void (*agg_window_cb_t)(const struct agg_window *);
void agg_set_window_cb(agg_window_cb_t cb);

#endif /* AGGREGATE_H_ */
```

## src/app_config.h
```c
#ifndef APP_CONFIG_H_
#define APP_CONFIG_H_

/* Central tunables. Front-end scaling defaults must be confirmed against the
 * actual hardware (shunt value, INA240 gain variant, SAADC ref/gain). */

/* Build identifier shown in `pwr status`. Bump for each ship-able build;
 * useful for verifying OTA outcomes (does the running image match what
 * was applied?). */
#ifndef APP_BUILD_TAG
#define APP_BUILD_TAG "v1.0"
#endif

/* ---- Time base & fast acquisition --------------------------------------- */
#define MASTER_CLOCK_HZ          1000000u   /* 1 MHz free-running master tick  */
/* SAADC output (logged) rate. The SAADC hardware-oversamples ACQ_OVERSAMPLE
 * conversions per output sample (BURST mode) and DMAs the average, so the
 * internal conversion rate is ACQ_SAMPLE_RATE_HZ * ACQ_OVERSAMPLE and must stay
 * <= ~200 kSPS. 20 kHz * 8 = 160 kHz, OK. Oversampling at 14-bit retains the
 * sub-LSB resolution the averaging buys (~+1.5 bit), with zero CPU. */
#define ACQ_SAMPLE_RATE_HZ       20000u     /* 20 kSPS logged (INA240 -> SAADC) */
#define ACQ_OVERSAMPLE           8u         /* HW average 8 conv/sample        */
/* master ticks per output sample (= 50) */
#define ACQ_SAMPLE_PERIOD_TICKS  (MASTER_CLOCK_HZ / ACQ_SAMPLE_RATE_HZ)

#define ACQ_BUF_SAMPLES          1024u      /* int16 per DMA buffer; at 20 kSPS  */
#define ACQ_BUF_COUNT            16u        /* = ~51 ms each; ~660 ms eff. slack */

/* ---- Slow precision channel (INA228) ------------------------------------ */
#define SLOW_FLUSH_INTERVAL_MS   1000u      /* batch slow records into a TDMS  */
                                            /* segment ~1x/s                   */

/* ---- Front-end scaling: raw SAADC code -> amps -------------------------- */
/*   I = ((code/2^bits)*Vfull - Vref) / (gain * shunt)                       */
/*   Bidirectional +/-~7.5 A around 1.65 V center; 0.2 V/A -> ~4.4 mA/LSB.     */
#define ADC_VFULL_SCALE_V        3.6f       /* SAADC: internal 0.6V ref, gain 1/6 */
#define ADC_BITS                 14u        /* 14-bit output (oversample retains sub-LSB) */
#define INA240_GAIN              200.0f     /* V/V (A4 variant)                */
#define INA240_VREF_V            1.6622f    /* CALIBRATED: INA240 0-A output measured at SAADC code 7565 (7565/2^14*3.6V); nominal VS/2=1.65 */
#define INA240_SHUNT_OHMS        0.001f     /* INA240 board shunt (0.1 -> 1 mOhm swap) */

/* ---- INA228 precision channel ------------------------------------------- */
#define INA228_SHUNT_OHMS        0.002f     /* INA228 board shunt               */
#define INA228_IMAX_A            20.0f      /* expected max; sets CURRENT_LSB (hi-res) */

#endif /* APP_CONFIG_H_ */
```

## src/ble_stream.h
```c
#ifndef BLE_STREAM_H_
#define BLE_STREAM_H_

#include "aggregate.h"
#include "ina228.h"

/*
 * BLE live view: a multi-rate, tagged notification stream. Each notification is
 * one self-contained record with a leading type byte:
 *   0x01 FAST   - fast-channel aggregate window (~20 Hz, raw codes)
 *   0x02 SLOW   - INA228 sample in real units (V/A/W/degC, its native rate)
 *   0x03 STATUS - device state + battery + drops (~2 Hz)
 * The central demuxes by tag; each channel streams at its own cadence.
 */

int ble_stream_init(void);
int ble_stream_publish(const struct agg_window *w);          /* FAST */
int ble_stream_publish_slow(const struct ina228_sample *s);  /* SLOW (INA228) */
void ble_stream_set_adv(bool on);   /* start/stop advertising (off in dark idle) */
bool ble_stream_subscribed(void);   /* central is connected + subscribed to NOTIFY */

/* Pause / resume the 2 Hz status heartbeat work. The heartbeat sends
 * status + battery to a connected central whenever the aggregate
 * stream isn't already publishing -- useful for STOPPED, useless in
 * LS_IDLE (rail off, can't sample, no central likely there). Pause
 * frees ~0.5 ms of CPU per second + avoids waking sysworkq. */
void ble_stream_pause_hb(void);
void ble_stream_resume_hb(void);

#endif /* BLE_STREAM_H_ */
```

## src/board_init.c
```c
/*
 * Early-init override for the promicro_nrf52840.
 *
 * Sets UICR.REGOUT0 to 3.3 V when the chip boots in HV mode (powered via
 * VDDH from USB or LiPo through REG0). The factory default is 1.8 V, which
 * means every GPIO output drives at most 1.8 V -- below the forward voltage
 * of red LEDs and below the logic-high threshold of 3.3 V peripherals on the
 * gated rail. Symptom is "the LED never lights and GPIO high reads 1.8 V."
 *
 * Same pattern as Zephyr's upstream nrf52840dongle board.c
 * (boards/nordic/nrf52840dongle/board.c) -- this file shouldn't exist in the
 * app at all, but the promicro_nrf52840 board doesn't ship its own board.c
 * so we provide the hook here.
 *
 * UICR is one-time-programmable per chip-erase, so this only does anything on
 * the first boot after a fresh erase; subsequent boots see REGOUT0 already
 * programmed and skip the write.
 */

#include <zephyr/init.h>
#include <hal/nrf_power.h>

void board_early_init_hook(void)
{
	if (nrf_power_mainregstatus_get(NRF_POWER) != NRF_POWER_MAINREGSTATUS_HIGH) {
		return;   /* not in HV mode -- regulator is bypassed, no action */
	}

	if ((NRF_UICR->REGOUT0 & UICR_REGOUT0_VOUT_Msk) !=
	    (UICR_REGOUT0_VOUT_DEFAULT << UICR_REGOUT0_VOUT_Pos)) {
		return;   /* already programmed by a previous boot */
	}

	/* Unlock UICR for write. */
	NRF_NVMC->CONFIG = NVMC_CONFIG_WEN_Wen << NVMC_CONFIG_WEN_Pos;
	while (NRF_NVMC->READY == NVMC_READY_READY_Busy) {
		/* spin */
	}

	/* Program REGOUT0 = 3.3 V (matches our external 3V3 rail). */
	NRF_UICR->REGOUT0 =
	    (NRF_UICR->REGOUT0 & ~((uint32_t)UICR_REGOUT0_VOUT_Msk)) |
	    (UICR_REGOUT0_VOUT_3V3 << UICR_REGOUT0_VOUT_Pos);

	/* Re-lock UICR. */
	NRF_NVMC->CONFIG = NVMC_CONFIG_WEN_Ren << NVMC_CONFIG_WEN_Pos;
	while (NRF_NVMC->READY == NVMC_READY_READY_Busy) {
		/* spin */
	}

	/* Settings only take effect after a reset. */
	NVIC_SystemReset();
}
```

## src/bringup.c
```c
#include "bringup.h"
#include "app_config.h"

#include <zephyr/kernel.h>
#include <zephyr/device.h>
#include <zephyr/drivers/gpio.h>
#include <zephyr/drivers/i2c.h>
#include <zephyr/storage/disk_access.h>
#include <zephyr/logging/log.h>

#include <errno.h>
#include <nrfx.h>
#include <nrfx_saadc.h>

LOG_MODULE_REGISTER(bringup, LOG_LEVEL_INF);

#define INA228_ADDR      0x40U
#define INA228_REG_MANID 0x3EU /* expect 0x5449 = "TI" */
#define INA228_REG_DEVID 0x3FU /* expect 0x228x */
#define SD_DISK          "SD"

static const struct gpio_dt_spec led = GPIO_DT_SPEC_GET(DT_ALIAS(led0), gpios);
static const struct device *const i2c_bus = DEVICE_DT_GET(DT_NODELABEL(i2c0));
static bool saadc_ready;

static void probe_ina228(void)
{
	uint8_t reg = INA228_REG_MANID;
	uint8_t buf[2] = {0};

	if (i2c_write_read(i2c_bus, INA228_ADDR, &reg, 1, buf, sizeof(buf)) != 0) {
		LOG_WRN("INA228: no ACK at 0x%02x -- not wired?", INA228_ADDR);
		return;
	}
	uint16_t manid = (uint16_t)((buf[0] << 8) | buf[1]);
	uint16_t devid = 0;

	reg = INA228_REG_DEVID;
	if (i2c_write_read(i2c_bus, INA228_ADDR, &reg, 1, buf, sizeof(buf)) == 0) {
		devid = (uint16_t)((buf[0] << 8) | buf[1]);
	}
	LOG_INF("INA228 @0x%02x: MANID=0x%04x DEVID=0x%04x%s", INA228_ADDR, manid,
		devid, (manid == 0x5449) ? " (TI OK)" : "");
}

static void probe_sd(void)
{
	uint32_t sectors = 0;
	uint32_t ssize = 0;

	if (disk_access_init(SD_DISK) != 0) {
		LOG_WRN("SD: no card / init failed -- not wired?");
		return;
	}
	disk_access_ioctl(SD_DISK, DISK_IOCTL_GET_SECTOR_COUNT, &sectors);
	disk_access_ioctl(SD_DISK, DISK_IOCTL_GET_SECTOR_SIZE, &ssize);
	LOG_INF("SD: %u sectors x %u B = %llu MB", sectors, ssize,
		((uint64_t)sectors * ssize) / (1024ULL * 1024ULL));
}

static int saadc_setup(void)
{
	nrfx_saadc_channel_t ch =
		NRFX_SAADC_DEFAULT_CHANNEL_SE(NRFX_ANALOG_EXTERNAL_AIN7, 0);

	int err;

	/* INA240 0..3.3 V output -> 0..3.6 V FS (internal 0.6 V ref, gain 1/6). */
	ch.channel_config.gain = NRF_SAADC_GAIN1_6;
	ch.channel_config.reference = NRF_SAADC_REFERENCE_INTERNAL;

	err = nrfx_saadc_init(NRFX_SAADC_DEFAULT_CONFIG_IRQ_PRIORITY);
	if (err != 0 && err != -EALREADY) {
		LOG_ERR("nrfx_saadc_init -> %d", err);
		return -1;
	}
	err = nrfx_saadc_channel_config(&ch);
	if (err != 0) {
		LOG_ERR("nrfx_saadc_channel_config -> %d", err);
		return -1;
	}
	return 0;
}

static void probe_saadc(void)
{
	static nrf_saadc_value_t sample;

	if (!saadc_ready) {
		saadc_ready = (saadc_setup() == 0); /* retry; logs the error code */
		if (!saadc_ready) {
			return;
		}
	}
	if (nrfx_saadc_simple_mode_set(BIT(0), NRF_SAADC_RESOLUTION_12BIT,
				       NRF_SAADC_OVERSAMPLE_DISABLED, NULL) != 0) {
		return;
	}
	if (nrfx_saadc_buffer_set(&sample, 1) != 0) {
		return;
	}
	if (nrfx_saadc_mode_trigger() != 0) {
		return;
	}

	int code = (sample < 0) ? 0 : sample;
	int mv = (int)((int32_t)code * 3600 / 4096);
	float amps = ((mv / 1000.0f) - INA240_VREF_V) /
		     (INA240_GAIN * INA240_SHUNT_OHMS);

	LOG_INF("AIN7: code=%d  %d mV  (~%d mA on fast channel)", code, mv,
		(int)(amps * 1000.0f));
}

void bringup_run(void)
{
	LOG_INF("=== pwr-logger bring-up probe (%s) ===", CONFIG_BOARD);

	if (gpio_is_ready_dt(&led)) {
		gpio_pin_configure_dt(&led, GPIO_OUTPUT_INACTIVE);
	} else {
		LOG_ERR("LED not ready");
	}
	LOG_INF("i2c0: %s", device_is_ready(i2c_bus) ? "ready" : "NOT ready");

	saadc_ready = (saadc_setup() == 0);
	LOG_INF("SAADC: %s", saadc_ready ? "ready (AIN7)" : "init FAILED");

	for (uint32_t n = 0;; n++) {
		gpio_pin_toggle_dt(&led);
		LOG_INF("--- probe #%u ---", n);
		probe_ina228();
		probe_sd();
		probe_saadc();
		k_sleep(K_SECONDS(2));
	}
}
```

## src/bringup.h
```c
#ifndef BRINGUP_H_
#define BRINGUP_H_

/*
 * Phase 0/1 hardware bring-up probe. Heartbeat LED + a periodic self-test that
 * reports what it can see (INA228 over I2C, SD card, SAADC on AIN7), so wiring
 * each component can be verified live over the console/RTT. Does not return.
 */
void bringup_run(void);

#endif /* BRINGUP_H_ */
```

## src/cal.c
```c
#include "cal.h"
#include "config.h"

/* Offset in amps: fast_corrected = fast_raw - s_offset. EMA toward (fast-ina). */
static float s_offset;
static bool  s_primed;

void cal_reset(void)
{
	s_offset = 0.0f;
	s_primed = false;
}

float cal_offset_a(void)
{
	return config_get()->cal_enable ? s_offset : 0.0f;
}

void cal_update(float i_fast_raw_a, float i_ina_a, float dt_s, bool steady)
{
	float meas, tau, alpha;

	if (!config_get()->cal_enable || !steady || dt_s <= 0.0f) {
		return;
	}
	meas = i_fast_raw_a - i_ina_a;
	if (!s_primed) {            /* seed -> converge instantly on the first sample */
		s_offset = meas;
		s_primed = true;
		return;
	}
	tau = (float)config_get()->cal_tau_s;
	if (tau < 1.0f) {
		tau = 1.0f;
	}
	alpha = dt_s / tau;         /* slow loop: bandwidth well below the signal band */
	if (alpha > 1.0f) {
		alpha = 1.0f;
	}
	s_offset += alpha * (meas - s_offset);
}
```

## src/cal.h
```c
#ifndef CAL_H_
#define CAL_H_

#include <stdbool.h>

/*
 * Fast-channel (INA240) zero auto-calibration against the INA228. Both shunts are
 * in series, so they carry the same current; the INA228 is the precision truth.
 * We track the slowly-drifting fast-channel offset as offset = LPF(i_fast - i_ina)
 * with a long time constant (config cal_tau_s), so the loop removes DC/thermal
 * drift without touching the fast channel's high-rate (AC/transient) content.
 */

void  cal_update(float i_fast_raw_a, float i_ina_a, float dt_s, bool steady);
float cal_offset_a(void);   /* subtract from the fast current to match the INA228 */
void  cal_reset(void);

#endif /* CAL_H_ */
```
